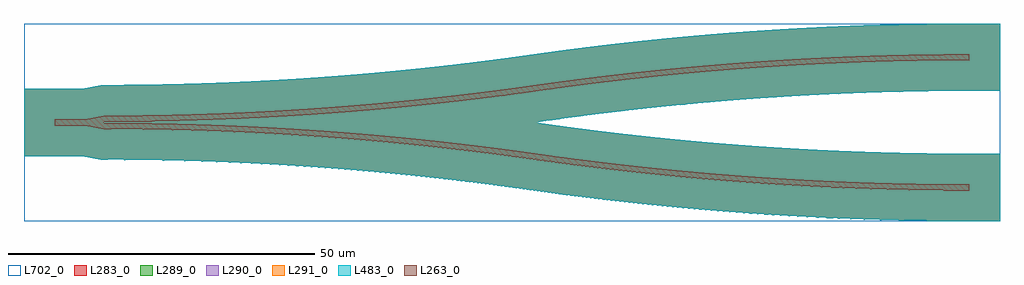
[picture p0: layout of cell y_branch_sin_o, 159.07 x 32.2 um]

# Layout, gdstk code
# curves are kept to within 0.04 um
import gdstk
lib = gdstk.Library(unit=1e-6, precision=1e-09)
def R(c, l, rs):  # rectangles x0, y0, x1, y1
    for r in rs: c.add(gdstk.rectangle(r[:2], r[2:], *l))
def P(c, l, *ps):  # polygons
    for p in ps: c.add(gdstk.Polygon(p, *l))
L263_0 = (263, 0)
L283_0 = (283, 0)
L289_0 = (289, 0)
L290_0 = (290, 0)
L291_0 = (291, 0)
L483_0 = (483, 0)
L702_0 = (702, 0)

y_branch_sin_o = lib.new_cell('y_branch_sin_o')
R(y_branch_sin_o, L263_0, [(0,10.6,5,11.6)])
P(y_branch_sin_o, L263_0, [(148.395,0),(138.992,0.101),(129.504,0.382),(120.022,0.843),(110.059,1.522),(101.271,2.287),(92.364,3.222),(84.63,4.165),(68.229,6.356),(61.436,7.134),(54.321,7.848),(42.696,8.794),(31.23,9.46),(19.886,9.859),(8,10),(8,11),(17.672,10.907),(27.563,10.618),(37.045,10.157),(47.008,9.478),(55.796,8.713),(64.703,7.778),(72.437,6.835),(88.838,4.644),(95.631,3.866),(102.746,3.152),(114.371,2.206),(125.837,1.54),(137.181,1.141),(149.067,1),(149.067,0)],
  [(8,11.2),(8,12.2),(19.886,12.341),(31.23,12.74),(42.696,13.406),(54.321,14.352),(61.436,15.066),(68.229,15.844),(84.63,18.035),(92.364,18.978),(101.271,19.913),(110.238,20.692),(120.022,21.357),(129.504,21.818),(139.395,22.107),(149.067,22.2),(149.067,21.2),(137.181,21.059),(125.837,20.66),(114.371,19.994),(102.746,19.048),(95.631,18.334),(88.838,17.556),(72.437,15.365),(64.703,14.422),(55.796,13.487),(46.829,12.708),(37.045,12.043),(27.563,11.582),(17.672,11.293)],
  [(8,10),(5,10.6),(5,11.6),(8,12.2)],
  [(8,10),(5,10.6),(5,11.6),(8,12.2)])
P(y_branch_sin_o, L283_0, [(148.338,-5),(138.252,-4.885),(127.86,-4.556),(117.51,-4.015),(107.211,-3.265),(98.806,-2.496),(89.971,-1.535),(82.817,-0.641),(70.45,1.041),(61.65,2.082),(51.554,3.079),(41.72,3.85),(33.488,4.343),(24.974,4.709),(16.024,4.935),(7.505,5),(4.504,5.6),(-5,5.6),(-5,16.6),(4.504,16.6),(7.505,17.2),(17.229,17.286),(27.396,17.58),(37.11,18.057),(47.074,18.746),(56.014,19.536),(64.973,20.492),(72.986,21.488),(85.748,23.22),(94.842,24.284),(105.248,25.298),(115.633,26.094),(125.558,26.654),(134.528,26.992),(143.86,27.174),(154.067,27.2),(154.067,16.2),(143.989,16.174),(134.949,15.999),(125.651,15.646),(116.361,15.118),(106.87,14.397),(97.104,13.463),(87.59,12.364),(78.219,11.1),(87.191,9.886),(96.838,8.765),(106.023,7.876),(115.347,7.15),(124.807,6.595),(134.643,6.21),(143.989,6.026),(154.067,6),(154.067,-5)])
P(y_branch_sin_o, L289_0, [(148.338,-5),(138.252,-4.885),(127.86,-4.556),(117.51,-4.015),(107.211,-3.265),(98.806,-2.496),(89.971,-1.535),(82.817,-0.641),(70.45,1.041),(61.65,2.082),(51.554,3.079),(41.72,3.85),(33.488,4.343),(24.974,4.709),(16.024,4.935),(7.505,5),(4.504,5.6),(-5,5.6),(-5,16.6),(4.504,16.6),(7.505,17.2),(17.229,17.286),(27.396,17.58),(37.11,18.057),(47.074,18.746),(56.014,19.536),(64.973,20.492),(72.986,21.488),(85.748,23.22),(94.842,24.284),(105.248,25.298),(115.633,26.094),(125.558,26.654),(134.528,26.992),(143.86,27.174),(154.067,27.2),(154.067,16.2),(143.989,16.174),(134.949,15.999),(125.651,15.646),(116.361,15.118),(106.87,14.397),(97.104,13.463),(87.59,12.364),(78.219,11.1),(87.191,9.886),(96.838,8.765),(106.023,7.876),(115.347,7.15),(124.807,6.595),(134.643,6.21),(143.989,6.026),(154.067,6),(154.067,-5)])
P(y_branch_sin_o, L290_0, [(148.338,-5),(138.252,-4.885),(127.86,-4.556),(117.51,-4.015),(107.211,-3.265),(98.806,-2.496),(89.971,-1.535),(82.817,-0.641),(70.45,1.041),(61.65,2.082),(51.554,3.079),(41.72,3.85),(33.488,4.343),(24.974,4.709),(16.024,4.935),(7.505,5),(4.504,5.6),(-5,5.6),(-5,16.6),(4.504,16.6),(7.505,17.2),(17.229,17.286),(27.396,17.58),(37.11,18.057),(47.074,18.746),(56.014,19.536),(64.973,20.492),(72.986,21.488),(85.748,23.22),(94.842,24.284),(105.248,25.298),(115.633,26.094),(125.558,26.654),(134.528,26.992),(143.86,27.174),(154.067,27.2),(154.067,16.2),(143.989,16.174),(134.949,15.999),(125.651,15.646),(116.361,15.118),(106.87,14.397),(97.104,13.463),(87.59,12.364),(78.219,11.1),(87.191,9.886),(96.838,8.765),(106.023,7.876),(115.347,7.15),(124.807,6.595),(134.643,6.21),(143.989,6.026),(154.067,6),(154.067,-5)])
P(y_branch_sin_o, L291_0, [(148.338,-5),(138.252,-4.885),(127.86,-4.556),(117.51,-4.015),(107.211,-3.265),(98.806,-2.496),(89.971,-1.535),(82.817,-0.641),(70.45,1.041),(61.65,2.082),(51.554,3.079),(41.72,3.85),(33.488,4.343),(24.974,4.709),(16.024,4.935),(7.505,5),(4.504,5.6),(-5,5.6),(-5,16.6),(4.504,16.6),(7.505,17.2),(17.229,17.286),(27.396,17.58),(37.11,18.057),(47.074,18.746),(56.014,19.536),(64.973,20.492),(72.986,21.488),(85.748,23.22),(94.842,24.284),(105.248,25.298),(115.633,26.094),(125.558,26.654),(134.528,26.992),(143.86,27.174),(154.067,27.2),(154.067,16.2),(143.989,16.174),(134.949,15.999),(125.651,15.646),(116.361,15.118),(106.87,14.397),(97.104,13.463),(87.59,12.364),(78.219,11.1),(87.191,9.886),(96.838,8.765),(106.023,7.876),(115.347,7.15),(124.807,6.595),(134.643,6.21),(143.989,6.026),(154.067,6),(154.067,-5)])
P(y_branch_sin_o, L483_0, [(148.338,-5),(138.252,-4.885),(127.86,-4.556),(117.51,-4.015),(107.211,-3.265),(98.806,-2.496),(89.971,-1.535),(82.817,-0.641),(70.45,1.041),(61.65,2.082),(51.554,3.079),(41.72,3.85),(33.488,4.343),(24.974,4.709),(16.024,4.935),(7.505,5),(4.504,5.6),(-5,5.6),(-5,16.6),(4.504,16.6),(7.505,17.2),(17.229,17.286),(27.396,17.58),(37.11,18.057),(47.074,18.746),(56.014,19.536),(64.973,20.492),(72.986,21.488),(85.748,23.22),(94.842,24.284),(105.248,25.298),(115.633,26.094),(125.558,26.654),(134.528,26.992),(143.86,27.174),(154.067,27.2),(154.067,16.2),(143.989,16.174),(134.949,15.999),(125.651,15.646),(116.361,15.118),(106.87,14.397),(97.104,13.463),(87.59,12.364),(78.219,11.1),(87.191,9.886),(96.838,8.765),(106.023,7.876),(115.347,7.15),(124.807,6.595),(134.643,6.21),(143.989,6.026),(154.067,6),(154.067,-5)])
R(y_branch_sin_o, L702_0, [(-5,-5,154.067,27.2)])

lib.write_gds('y_branch_sin_o.gds')
